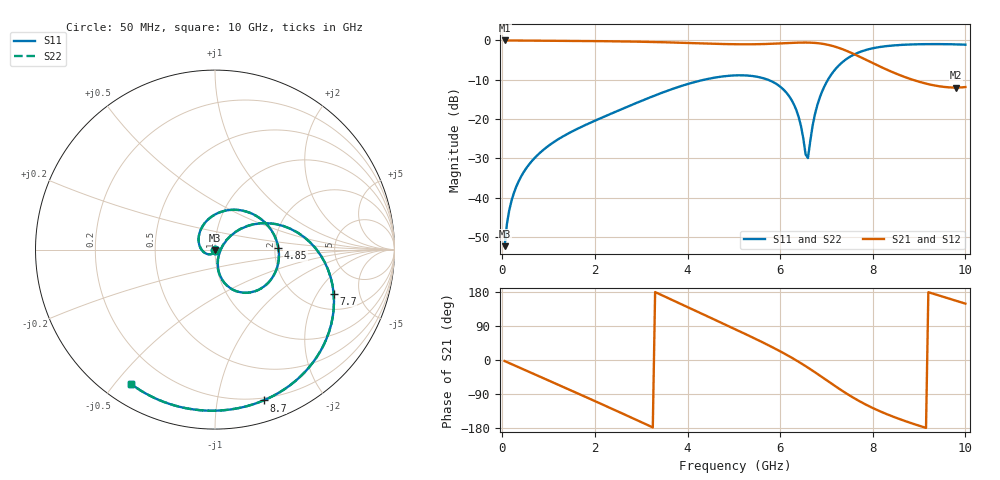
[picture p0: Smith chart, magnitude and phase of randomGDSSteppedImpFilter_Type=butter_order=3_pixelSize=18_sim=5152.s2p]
! freq	dB(S11)	phase(S11)	dB(S12)	phase(S12)
!  dB(S21)	phase(S21)	dB(S22)	phase(S22)
!S-par simulation data
#  GHz  S  DB  R 50
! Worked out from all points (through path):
!   200 points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, 50 MHz to 10 GHz, reference 50 ohm
!   highest |S21| = 0.00 dB at 50 MHz (marker M1); lowest = -12.0 dB at 9.8 GHz (marker M2)
!   group delay of S21, straight-line fit = 167 ps
!   lowest |S11| = -52.3 dB at 50 MHz (marker M3), VSWR 1.00, Z = 50 - j0.239 ohm
!   |S11| at or under -10 dB: start of sweep to 4.357 GHz; 5.734 GHz to 7.033 GHz (1.298 GHz wide, 20.3 % of centre)
!   |S22| runs from -52.3 to -0.9 dB; largest |S21 - S12| = 0
!   S11 on the Smith chart (normalised r, x): 50 MHz: 1.00, -0.00; 4.85 GHz: 2.09, +0.04; 7.7 GHz: 2.88, -2.80; 8.7 GHz: 0.18, -1.36; 10 GHz: 0.08, -0.55
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0.05  -52.35 -81.6  -0.00 -2.8  -0.00 -2.8  -52.35 -81.6
0.2  -40.76 -98.3  -0.02 -10.9  -0.02 -10.9  -40.76 -98.3
0.5  -32.82 -117.0  -0.04 -27.0  -0.04 -27.0  -32.82 -117.1
1.15  -25.57 -153.7  -0.09 -62.2  -0.09 -62.2  -25.57 -153.8
1.75  -21.76 173.3  -0.14 -94.8  -0.14 -94.8  -21.76 173.1
2.65  -17.12 123.8  -0.26 -144.3  -0.26 -144.3  -17.12 123.6
3.4  -13.53 82.1  -0.43 173.6  -0.43 173.6  -13.53 81.9
4.2  -10.45 37.5  -0.71 128.3  -0.71 128.3  -10.45 37.2
4.85  -9.04 1.4  -0.93 91.4  -0.93 91.4  -9.04 1.2
5.05  -8.88 -9.6  -0.97 80.0  -0.97 80.0  -8.89 -9.9
5.6  -9.49 -40.4  -0.93 47.9  -0.93 47.9  -9.50 -40.6
6.15  -13.50 -71.4  -0.67 13.0  -0.67 13.0  -13.51 -71.8
6.4  -19.49 -80.6  -0.55 -4.8  -0.55 -4.8  -19.52 -81.3
6.6  -29.93 -1.2  -0.54 -20.1  -0.54 -20.1  -30.26 -0.4
6.7  -21.75 38.9  -0.59 -28.1  -0.59 -28.1  -21.80 39.7
6.85  -14.71 38.9  -0.75 -40.4  -0.75 -40.4  -14.72 39.2
7.05  -9.64 26.5  -1.16 -57.3  -1.16 -57.3  -9.65 26.6
7.7  -3.04 -20.3  -4.05 -107.8  -4.05 -107.8  -3.04 -20.3
8.35  -1.38 -56.6  -7.68 -145.3  -7.68 -145.3  -1.38 -56.6
8.7  -1.08 -72.2  -9.34 -161.2  -9.34 -161.2  -1.08 -72.2
9.8  -1.00 -114.1  -12.00 156.6  -12.00 156.6  -1.00 -114.3
10  -1.08 -121.9  -11.86 148.7  -11.86 148.7  -1.08 -122.0
